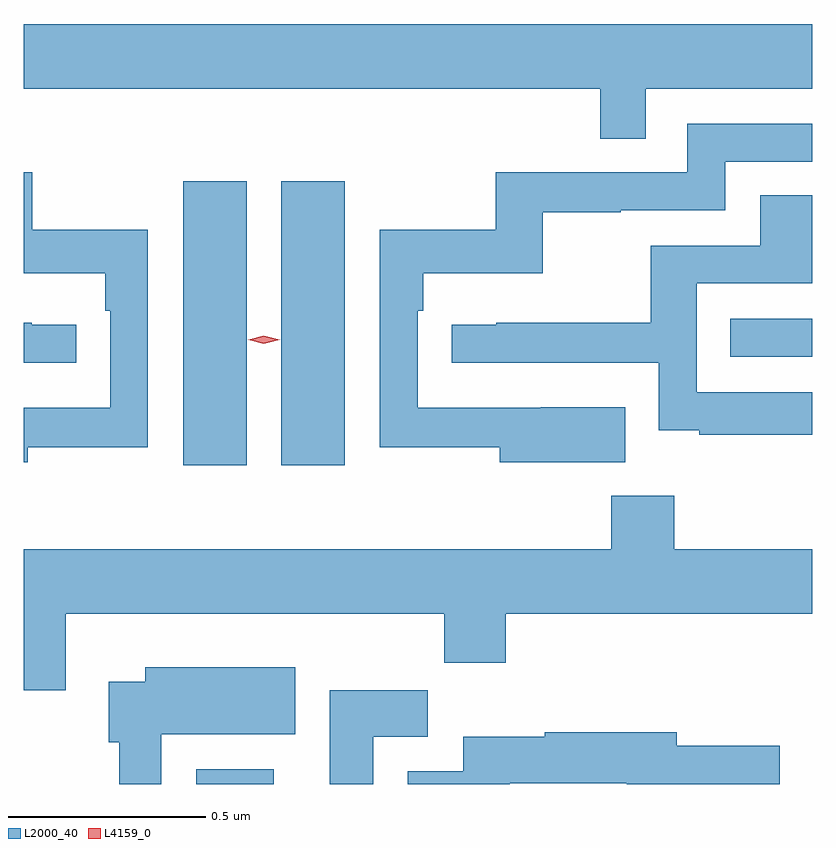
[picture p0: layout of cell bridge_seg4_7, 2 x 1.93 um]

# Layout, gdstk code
import gdstk
lib = gdstk.Library(unit=1e-6, precision=1e-09)
def R(c, l, rs):  # rectangles x0, y0, x1, y1
    for r in rs: c.add(gdstk.rectangle(r[:2], r[2:], *l))
def P(c, l, *ps):  # polygons
    for p in ps: c.add(gdstk.Polygon(p, *l))
L2000_40 = (2000, 40)
L4159_0 = (4159, 0)

bridge_seg4_7 = lib.new_cell('bridge_seg4_7')
R(bridge_seg4_7, L2000_40, [(1032.05,811.04,1032.247,811.078), (1032.017,811.848,1032.178,812.569), (1032.266,811.848,1032.427,812.569), (1033.405,812.124,1033.613,812.22)])
P(bridge_seg4_7, L2000_40, [(1033.191,812.804),(1033.613,812.804),(1033.613,812.968),(1031.613,812.968),(1031.613,812.804),(1033.075,812.804),(1033.075,812.677),(1033.191,812.677)],
  [(1033.139,811.996),(1032.925,811.996),(1032.925,811.995),(1032.612,811.995),(1032.612,812.24),(1032.626,812.24),(1032.626,812.336),(1032.93,812.336),(1032.93,812.491),(1033.127,812.491),(1033.127,812.496),(1033.392,812.496),(1033.392,812.619),(1033.613,812.619),(1033.613,812.715),(1033.296,812.715),(1033.296,812.592),(1032.81,812.592),(1032.81,812.446),(1032.516,812.446),(1032.516,811.894),(1032.821,811.894),(1032.821,811.856),(1033.139,811.856)],
  [(1031.623,811.894),(1031.928,811.894),(1031.928,812.446),(1031.635,812.446),(1031.635,812.592),(1031.613,812.592),(1031.613,812.336),(1031.819,812.336),(1031.819,812.24),(1031.832,812.24),(1031.832,811.995),(1031.613,811.995),(1031.613,811.856),(1031.623,811.856)],
  [(1033.613,812.034),(1033.32,812.034),(1033.32,812.31),(1033.613,812.31),(1033.613,812.534),(1033.481,812.534),(1033.481,812.406),(1033.204,812.406),(1033.204,812.21),(1032.811,812.21),(1032.811,812.205),(1032.699,812.205),(1032.699,812.109),(1033.224,812.109),(1033.224,811.937),(1033.327,811.937),(1033.327,811.926),(1033.613,811.926)],
  [(1031.746,812.205),(1031.633,812.205),(1031.633,812.21),(1031.613,812.21),(1031.613,812.109),(1031.746,812.109)],
  [(1031.719,811.472),(1032.679,811.472),(1032.679,811.348),(1032.836,811.348),(1032.836,811.472),(1033.613,811.472),(1033.613,811.636),(1033.263,811.636),(1033.263,811.771),(1033.103,811.771),(1033.103,811.636),(1031.613,811.636),(1031.613,811.278),(1031.719,811.278)],
  [(1031.962,811.166),(1032.301,811.166),(1032.301,811.336),(1031.921,811.336),(1031.921,811.3),(1031.828,811.3),(1031.828,811.146),(1031.855,811.146),(1031.855,811.04),(1031.962,811.04)],
  [(1032.499,811.16),(1032.638,811.16),(1032.638,811.278),(1032.389,811.278),(1032.389,811.04),(1032.499,811.04)],
  [(1032.846,811.042),(1033.142,811.042),(1033.142,811.04),(1033.531,811.04),(1033.531,811.137),(1033.27,811.137),(1033.27,811.171),(1032.934,811.171),(1032.934,811.16),(1032.728,811.16),(1032.728,811.072),(1032.587,811.072),(1032.587,811.04),(1032.846,811.04)])
P(bridge_seg4_7, L4159_0, [(1032.222,812.157),(1032.182,812.167),(1032.182,812.167),(1032.182,812.167),(1032.222,812.177),(1032.262,812.167),(1032.262,812.167),(1032.262,812.167)])

lib.write_gds('bridge_seg4_7.gds')
